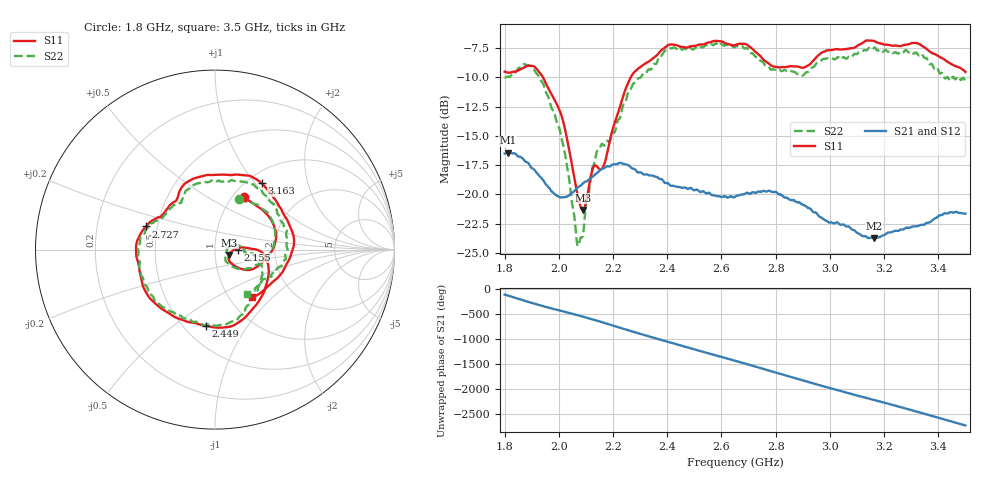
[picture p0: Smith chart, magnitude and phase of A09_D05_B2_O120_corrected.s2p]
! Created with skrf 1.9.0 (http://scikit-rf.org).
# Hz S RI R 50.0
!freq ReS11 ImS11 ReS21 ImS21 ReS12 ImS12 ReS22 ImS22
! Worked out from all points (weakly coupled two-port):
!   1601 points, 1.8 GHz to 3.5 GHz, reference 50 ohm
!   highest |S21| = -16.43 dB at 1.812 GHz (marker M1); lowest = -23.8 dB at 3.163 GHz (marker M2)
!   lowest |S11| = -21.3 dB at 2.09 GHz (marker M3), VSWR 1.19, Z = 58.6 - j3.56 ohm
!   |S11| at or under -10 dB: 1.942 GHz to 2.265 GHz (323.7 MHz wide, 15.4 % of centre)
!   |S22| runs from -24.4 to -7.1 dB; largest |S21 - S12| = 0.0028
!   S11 on the Smith chart (normalised r, x): 1.8 GHz: 1.13, +0.74; 2.155 GHz: 1.29, +0.00; 2.449 GHz: 0.64, -0.66; 2.727 GHz: 0.43, +0.13; 3.163 GHz: 1.17, +1.08; 3.5 GHz: 1.26, -0.75
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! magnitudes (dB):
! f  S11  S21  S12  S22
! 1.8 GHz  -9.5  -16.5  -16.5  -10.0
! 1.812 GHz  -9.6  -16.4  -16.4  -9.9
! 1.88 GHz  -9.1  -17.2  -17.2  -8.9
! 1.941 GHz  -10.0  -18.8  -18.8  -10.5
! 2.013 GHz  -13.5  -20.3  -20.3  -15.4
! 2.067 GHz  -19.7  -19.5  -19.5  -24.1
! 2.084 GHz  -21.2  -19.2  -19.1  -23.7
! 2.09 GHz  -21.3  -19.0  -19.1  -23.3
! 2.127 GHz  -17.7  -18.4  -18.4  -17.5
! 2.155 GHz  -17.9  -17.9  -17.9  -15.8
! 2.203 GHz  -14.2  -17.4  -17.4  -14.7
! 2.262 GHz  -10.1  -17.6  -17.6  -11.1
! 2.367 GHz  -8.0  -18.6  -18.6  -8.4
! 2.449 GHz  -7.4  -19.4  -19.4  -7.5
! 2.65 GHz  -7.2  -20.2  -20.2  -7.4
! 2.727 GHz  -7.8  -19.9  -19.9  -8.2
! 2.8 GHz  -9.1  -19.8  -19.8  -9.4
! 2.934 GHz  -8.7  -21.4  -21.4  -9.2
! 3.163 GHz  -6.9  -23.8  -23.7  -7.5
! 3.217 GHz  -7.2  -23.3  -23.2  -7.8
! 3.325 GHz  -7.1  -22.7  -22.7  -8.0
! 3.5 GHz  -9.5  -21.6  -21.6  -10.3
